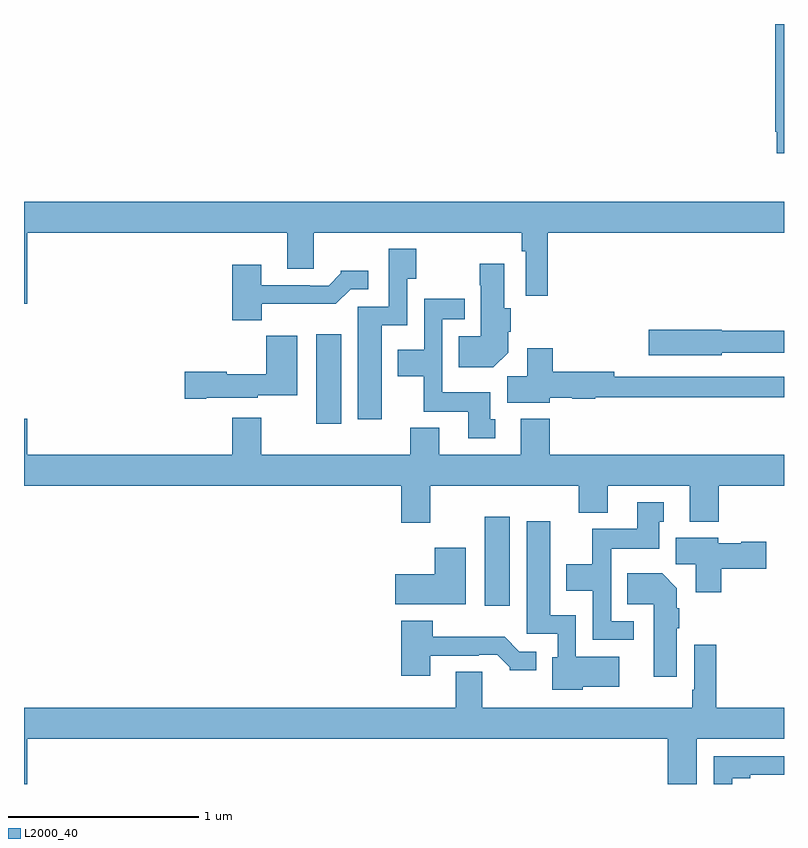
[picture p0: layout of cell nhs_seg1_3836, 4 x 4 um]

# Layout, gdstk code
import gdstk
lib = gdstk.Library(unit=1e-6, precision=1e-09)
def R(c, l, rs):  # rectangles x0, y0, x1, y1
    for r in rs: c.add(gdstk.rectangle(r[:2], r[2:], *l))
def P(c, l, *ps):  # polygons
    for p in ps: c.add(gdstk.Polygon(p, *l))
L2000_40 = (2000, 40)

nhs_seg1_3836 = lib.new_cell('nhs_seg1_3836')
R(nhs_seg1_3836, L2000_40, [(323.426,515.136,323.557,515.605), (322.538,516.096,322.669,516.565)])
P(nhs_seg1_3836, L2000_40, [(325,518.199),(324.955,518.199),(324.955,517.633),(324.963,517.633),(324.963,517.52),(325,517.52)],
  [(321,516.726),(321.016,516.726),(321.016,517.1),(322.385,517.1),(322.385,516.91),(322.525,516.91),(322.525,517.1),(323.62,517.1),(323.62,517.004),(323.64,517.004),(323.64,516.768),(323.756,516.768),(323.756,517.1),(325,517.1),(325,517.264),(321,517.264)],
  [(322.882,516.614),(323.016,516.614),(323.016,516.859),(323.064,516.859),(323.064,517.015),(322.92,517.015),(322.92,516.711),(322.757,516.711),(322.757,516.12),(322.882,516.12)],
  [(323.548,516.47),(323.548,516.58),(323.561,516.58),(323.561,516.702),(323.527,516.702),(323.527,516.937),(323.398,516.937),(323.398,516.824),(323.405,516.824),(323.405,516.556),(323.287,516.556),(323.287,516.392),(323.47,516.392)],
  [(322.252,516.726),(322.641,516.726),(322.719,516.804),(322.813,516.804),(322.813,516.901),(322.668,516.901),(322.668,516.886),(322.604,516.822),(322.505,516.822),(322.505,516.825),(322.249,516.825),(322.249,516.931),(322.097,516.931),(322.097,516.641),(322.252,516.641)],
  [(323.479,516.12),(323.455,516.12),(323.455,516.262),(323.202,516.262),(323.202,516.645),(323.32,516.645),(323.32,516.754),(323.106,516.754),(323.106,516.484),(322.967,516.484),(322.967,516.344),(323.104,516.344),(323.104,516.158),(323.339,516.158),(323.339,516.018),(323.479,516.018)],
  [(324.672,516.468),(325,516.468),(325,516.584),(324.672,516.584),(324.672,516.59),(324.288,516.59),(324.288,516.455),(324.672,516.455)],
  [(321.958,516.233),(322.23,516.233),(322.23,516.245),(322.438,516.245),(322.438,516.559),(322.276,516.559),(322.276,516.355),(322.068,516.355),(322.068,516.368),(321.846,516.368),(321.846,516.226),(321.958,516.226)],
  [(323.766,516.233),(323.886,516.233),(323.886,516.226),(324.006,516.226),(324.006,516.234),(325,516.234),(325,516.342),(324.106,516.342),(324.106,516.37),(323.783,516.37),(323.783,516.493),(323.648,516.493),(323.648,516.344),(323.543,516.344),(323.543,516.206),(323.766,516.206)],
  [(323.137,515.768),(323.921,515.768),(323.921,515.627),(324.073,515.627),(324.073,515.768),(324.503,515.768),(324.503,515.579),(324.656,515.579),(324.656,515.768),(325,515.768),(325,515.932),(323.768,515.932),(323.768,516.121),(323.615,516.121),(323.615,515.932),(323.185,515.932),(323.185,516.073),(323.033,516.073),(323.033,515.932),(322.249,515.932),(322.249,516.127),(322.097,516.127),(322.097,515.932),(321.016,515.932),(321.016,516.121),(321,516.121),(321,515.768),(322.985,515.768),(322.985,515.574),(323.137,515.574)],
  [(324.208,515.055),(324.09,515.055),(324.09,515.438),(324.343,515.438),(324.343,515.58),(324.367,515.58),(324.367,515.683),(324.227,515.683),(324.227,515.542),(323.992,515.542),(323.992,515.356),(323.855,515.356),(323.855,515.216),(323.994,515.216),(323.994,514.959),(324.208,514.959)],
  [(323.94,514.712),(324.133,514.712),(324.133,514.87),(323.904,514.87),(323.904,515.086),(323.77,515.086),(323.77,515.581),(323.645,515.581),(323.645,514.989),(323.808,514.989),(323.808,514.866),(323.78,514.866),(323.78,514.694),(323.94,514.694)],
  [(324.671,515.333),(324.907,515.333),(324.907,515.475),(324.774,515.475),(324.774,515.467),(324.654,515.467),(324.654,515.494),(324.431,515.494),(324.431,515.356),(324.536,515.356),(324.536,515.208),(324.671,515.208)],
  [(323.326,515.443),(323.162,515.443),(323.162,515.302),(322.953,515.302),(322.953,515.144),(323.326,515.144)],
  [(324.436,515.02),(324.449,515.02),(324.449,515.123),(324.436,515.123),(324.436,515.23),(324.358,515.308),(324.175,515.308),(324.175,515.144),(324.314,515.144),(324.314,514.764),(324.436,514.764)],
  [(323.137,514.875),(323.393,514.875),(323.393,514.878),(323.492,514.878),(323.556,514.814),(323.556,514.799),(323.695,514.799),(323.695,514.896),(323.607,514.896),(323.529,514.975),(323.15,514.975),(323.15,515.059),(322.985,515.059),(322.985,514.77),(323.137,514.77)],
  [(321.016,514.436),(324.389,514.436),(324.389,514.199),(324.541,514.199),(324.541,514.436),(325,514.436),(325,514.6),(324.644,514.6),(324.644,514.933),(324.528,514.933),(324.528,514.696),(324.516,514.696),(324.516,514.6),(323.413,514.6),(323.413,514.79),(323.273,514.79),(323.273,514.6),(321,514.6),(321,514.199),(321.016,514.199)],
  [(324.727,514.228),(324.823,514.228),(324.823,514.248),(325,514.248),(325,514.344),(324.63,514.344),(324.63,514.199),(324.727,514.199)])

lib.write_gds('nhs_seg1_3836.gds')
